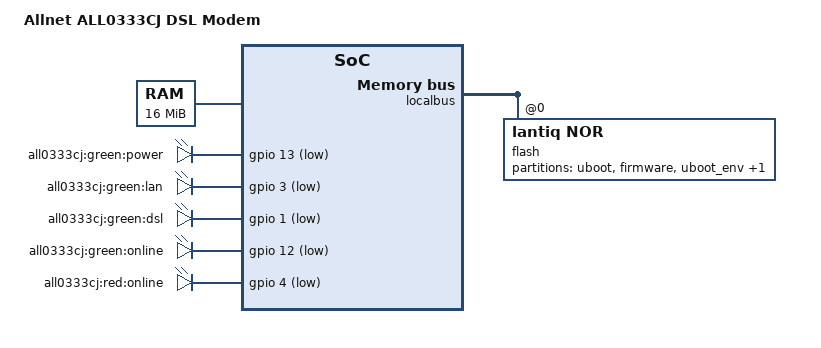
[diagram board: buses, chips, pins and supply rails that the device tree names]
/dts-v1/;

#include "amazonse.dtsi"

/ {
	compatible = "allnet,all0333cj", "lantiq,xway", "lantiq,ase";
	model = "Allnet ALL0333CJ DSL Modem";

	chosen {
		bootargs = "console=ttyLTQ0,115200";

		aliases {
			led-boot = &power;
			led-failsafe = &power;
			led-running = &power;
			led-upgrade = &power;

			led-dsl = &dsl;
			led-internet = &online_green;
		};
	};

	memory@0 {
		device_type = "memory";
		reg = <0x0 0x1000000>;
	};

	leds {
		compatible = "gpio-leds";

		/* power led: red=off, green=on */
		power: power {
			label = "all0333cj:green:power";
			gpios = <&gpio 13 GPIO_ACTIVE_LOW>;
			default-state = "keep";
		};

		lan: lan {
			label = "all0333cj:green:lan";
			gpios = <&gpio 3 GPIO_ACTIVE_LOW>;
		};

		dsl: dsl {
			label = "all0333cj:green:dsl";
			gpios = <&gpio 1 GPIO_ACTIVE_LOW>;
		};

		online_green: online {
			label = "all0333cj:green:online";
			gpios = <&gpio 12 GPIO_ACTIVE_LOW>;
		};
		online_red {
			label = "all0333cj:red:online";
			gpios = <&gpio 4 GPIO_ACTIVE_LOW>;
		};
	};
};

&gpio {
	pinctrl-names = "default";
	pinctrl-0 = <&state_default>;

	state_default: pinmux {
		keys_in {
			lantiq,pins = "io0",/* "io25", */"io29";
			lantiq,pull = <2>;
			lantiq,open-drain = <1>;
		};
	};
};

&gsw {
	phy-mode = "mii";
};

&localbus {
	flash@0 {
		compatible = "lantiq,nor";
		bank-width = <2>;
		reg = <0 0x0 0x400000>;

		partitions {
			compatible = "fixed-partitions";
			#address-cells = <1>;
			#size-cells = <1>;

			partition@0 {
				label = "uboot";
				reg = <0x00000 0x10000>;
				read-only;
			};

			partition@10000 {
				label = "firmware";
				reg = <0x10000 0x3ef200>;
			};

			partition@3ff200 {
				label = "uboot_env";
				reg = <0x3ff200 0xc00>;
				read-only;
			};

			partition@3ffe00 {
				label = "dummy_bits";
				reg = <0x3ffe00 0x200>;
				read-only;
			};
		};
	};
};
